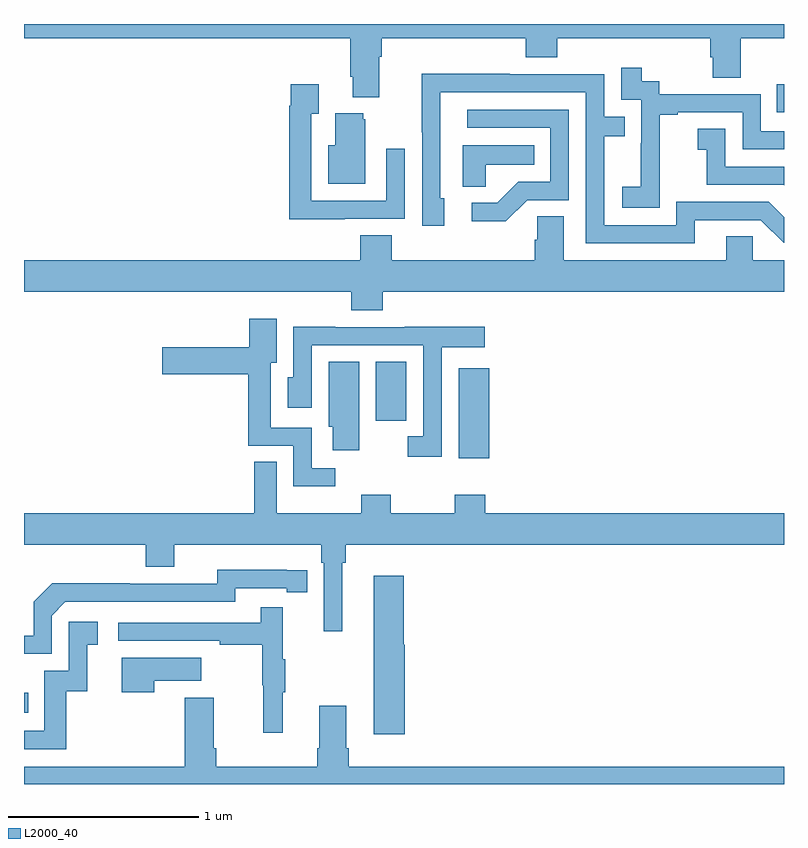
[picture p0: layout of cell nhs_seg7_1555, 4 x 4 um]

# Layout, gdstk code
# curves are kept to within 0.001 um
import gdstk
lib = gdstk.Library(unit=1e-6, precision=1e-09)
def R(c, l, rs):  # rectangles x0, y0, x1, y1
    for r in rs: c.add(gdstk.rectangle(r[:2], r[2:], *l))
def P(c, l, *ps):  # polygons
    for p in ps: c.add(gdstk.Polygon(p, *l))
L2000_40 = (2000, 40)

nhs_seg7_1555 = lib.new_cell('nhs_seg7_1555')
R(nhs_seg7_1555, L2000_40, [(217,1022.376,217.022,1022.481), (219.287,1023.714,219.448,1024.189), (218.852,1023.912,219.013,1024.223), (220.963,1025.535,221,1025.683)])
P(nhs_seg7_1555, L2000_40, [(217,1025.924),(218.717,1025.924),(218.717,1025.722),(218.729,1025.722),(218.729,1025.615),(218.869,1025.615),(218.869,1025.828),(218.882,1025.828),(218.882,1025.924),(219.641,1025.924),(219.641,1025.825),(219.806,1025.825),(219.806,1025.924),(220.613,1025.924),(220.613,1025.826),(220.625,1025.826),(220.625,1025.716),(220.773,1025.716),(220.773,1025.924),(221,1025.924),(221,1026),(217,1026)],
  [(220.347,1025.239),(220.346,1025.239),(220.346,1025.523),(220.441,1025.523),(220.441,1025.535),(220.782,1025.535),(220.782,1025.34),(221,1025.34),(221,1025.436),(220.878,1025.436),(220.878,1025.631),(220.344,1025.631),(220.344,1025.7),(220.252,1025.7),(220.252,1025.77),(220.143,1025.77),(220.143,1025.601),(220.248,1025.601),(220.248,1025.372),(220.247,1025.372),(220.247,1025.143),(220.149,1025.143),(220.149,1025.033),(220.347,1025.033)],
  [(220.531,1024.968),(220.878,1024.968),(220.998,1024.848),(221,1024.848),(221,1024.984),(220.92,1025.064),(220.434,1025.064),(220.434,1024.941),(220.053,1024.941),(220.053,1025.41),(220.163,1025.41),(220.163,1025.511),(220.053,1025.511),(220.053,1025.736),(219.557,1025.736),(219.557,1025.738),(219.094,1025.738),(219.094,1025.431),(219.096,1025.431),(219.096,1024.938),(219.211,1024.938),(219.211,1025.082),(219.192,1025.082),(219.192,1025.64),(219.957,1025.64),(219.957,1024.845),(220.531,1024.845)],
  [(218.687,1024.974),(219.003,1024.974),(219.003,1025.344),(218.907,1025.344),(218.907,1025.07),(218.511,1025.07),(218.511,1025.527),(218.551,1025.527),(218.551,1025.683),(218.403,1025.683),(218.403,1025.57),(218.395,1025.57),(218.395,1024.973),(218.687,1024.973)],
  [(219.648,1025.073),(219.867,1025.073),(219.867,1025.55),(219.333,1025.55),(219.333,1025.454),(219.771,1025.454),(219.771,1025.169),(219.602,1025.169),(219.491,1025.058),(219.357,1025.058),(219.357,1024.961),(219.535,1024.961)],
  [(218.797,1025.499),(218.786,1025.499),(218.786,1025.53),(218.639,1025.53),(218.639,1025.362),(218.6,1025.362),(218.6,1025.159),(218.797,1025.159)],
  [(221,1025.25),(220.692,1025.25),(220.692,1025.449),(220.545,1025.449),(220.545,1025.339),(220.594,1025.339),(220.594,1025.154),(220.997,1025.154),(221,1025.151)],
  [(219.429,1025.258),(219.686,1025.258),(219.686,1025.362),(219.308,1025.362),(219.308,1025.143),(219.429,1025.143)],
  [(218.888,1024.592),(221,1024.592),(221,1024.756),(220.836,1024.756),(220.836,1024.883),(220.697,1024.883),(220.697,1024.756),(219.841,1024.756),(219.841,1024.988),(219.702,1024.988),(219.702,1024.865),(219.689,1024.865),(219.689,1024.756),(218.936,1024.756),(218.936,1024.889),(218.771,1024.889),(218.771,1024.756),(217,1024.756),(217,1024.592),(218.723,1024.592),(218.723,1024.493),(218.888,1024.493)],
  [(218.638,1023.663),(218.514,1023.663),(218.514,1023.876),(218.299,1023.876),(218.299,1024.217),(218.329,1024.217),(218.329,1024.45),(218.186,1024.45),(218.186,1024.299),(217.728,1024.299),(217.728,1024.157),(218.181,1024.157),(218.181,1023.78),(218.418,1023.78),(218.418,1023.566),(218.638,1023.566)],
  [(219.198,1024.298),(219.424,1024.298),(219.424,1024.406),(219.005,1024.406),(219.005,1024.404),(218.639,1024.404),(218.639,1024.406),(218.418,1024.406),(218.418,1024.14),(218.387,1024.14),(218.387,1023.981),(218.514,1023.981),(218.514,1024.308),(219.102,1024.308),(219.102,1023.831),(219.021,1023.831),(219.021,1023.723),(219.198,1023.723)],
  [(218.764,1024.223),(218.603,1024.223),(218.603,1023.879),(218.624,1023.879),(218.624,1023.756),(218.764,1023.756)],
  [(218.674,1023.164),(218.693,1023.164),(218.693,1023.26),(221,1023.26),(221,1023.424),(219.428,1023.424),(219.428,1023.523),(219.268,1023.523),(219.268,1023.424),(218.931,1023.424),(218.931,1023.523),(218.776,1023.523),(218.776,1023.424),(218.329,1023.424),(218.329,1023.695),(218.211,1023.695),(218.211,1023.424),(217,1023.424),(217,1023.26),(217.64,1023.26),(217.64,1023.143),(217.792,1023.143),(217.792,1023.26),(218.564,1023.26),(218.564,1023.164),(218.577,1023.164),(218.577,1022.805),(218.674,1022.805)],
  [(217.146,1022.886),(217.218,1022.958),(218.112,1022.958),(218.112,1023.03),(218.384,1023.03),(218.384,1023.01),(218.492,1023.01),(218.492,1023.126),(218.016,1023.127),(218.016,1023.054),(217.556,1023.054),(217.556,1023.056),(217.148,1023.056),(217.05,1022.958),(217.05,1022.781),(217,1022.781),(217,1022.685),(217.146,1022.685)],
  [(219.004,1022.733),(218.999,1022.733),(218.999,1023.097),(218.84,1023.097),(218.84,1022.262),(219.004,1022.262)],
  [(218.363,1022.483),(218.374,1022.483),(218.374,1022.657),(218.363,1022.657),(218.363,1022.929),(218.245,1022.929),(218.245,1022.85),(217.497,1022.85),(217.497,1022.754),(218.029,1022.754),(218.029,1022.734),(218.253,1022.734),(218.253,1022.52),(218.26,1022.52),(218.26,1022.271),(218.363,1022.271)],
  [(217.223,1022.487),(217.334,1022.487),(217.334,1022.733),(217.387,1022.733),(217.387,1022.854),(217.236,1022.854),(217.236,1022.595),(217.107,1022.595),(217.107,1022.28),(217,1022.28),(217,1022.184),(217.223,1022.184)],
  [(217.685,1022.543),(217.933,1022.543),(217.933,1022.665),(217.514,1022.665),(217.514,1022.484),(217.685,1022.484)],
  [(221,1022.092),(218.708,1022.092),(218.708,1022.188),(218.695,1022.188),(218.695,1022.413),(218.555,1022.413),(218.555,1022.188),(218.543,1022.188),(218.543,1022.092),(218.012,1022.092),(218.012,1022.188),(217.999,1022.188),(217.999,1022.455),(217.847,1022.455),(217.847,1022.092),(217,1022.092),(217,1022),(221,1022)])

lib.write_gds('nhs_seg7_1555.gds')
